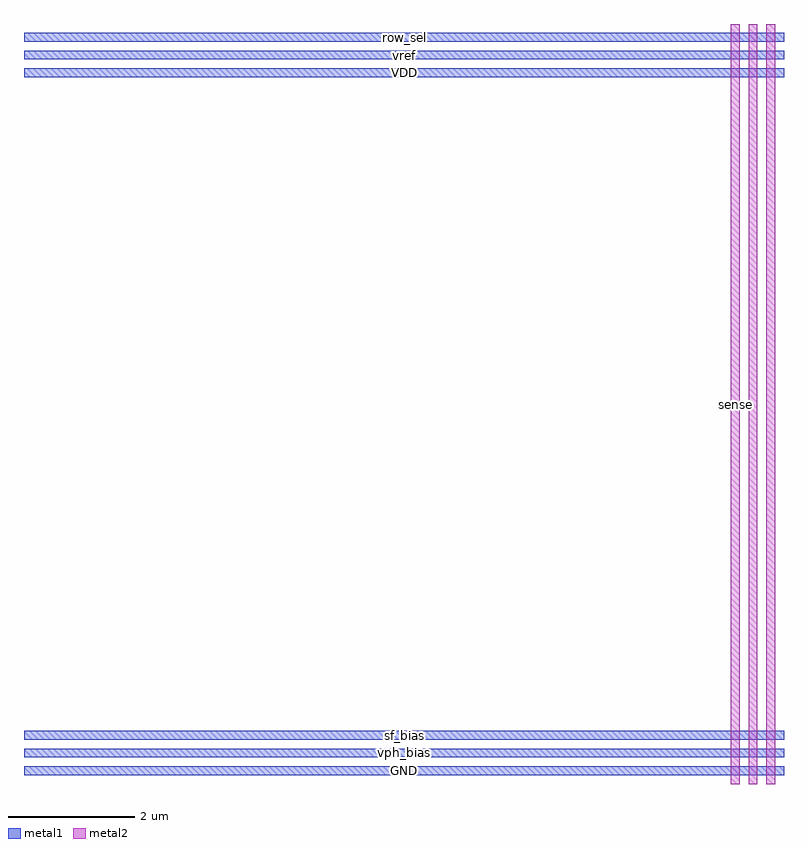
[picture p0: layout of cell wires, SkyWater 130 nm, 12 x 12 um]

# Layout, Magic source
magic
tech sky130A
<< metal1 >>
rect 0 14 1200 28
rect 0 42 1200 56
rect 0 70 1200 84
rect 0 1116 1200 1130
rect 0 1144 1200 1158
rect 0 1172 1200 1186
<< metal2 >>
rect 1116 0 1130 1200
rect 1144 0 1158 1200
rect 1172 0 1186 1200
<< labels >>
flabel metal1 0 14 1200 28 0 FreeSans 100 0 0 0 GND
port 0 ew
flabel metal1 0 1116 1200 1130 0 FreeSans 100 0 0 0 VDD
port 1 ew
flabel metal1 0 42 1200 56 0 FreeSans 100 0 0 0 vph_bias
port 2 ew
flabel metal1 0 70 1200 84 0 FreeSans 100 0 0 0 sf_bias
port 3 ew
flabel metal1 0 1144 1200 1158 0 FreeSans 100 0 0 0 vref
port 4 ew
flabel metal1 0 1172 1200 1186 0 FreeSans 100 0 0 0 row_sel
port 5 ew
flabel metal2 1116 0 1130 1200 0 FreeSans 100 90 0 0 sense
port 6 ns
flabel metal2 1144 0 1158 1200 0 FreeSans 100 90 0 0 feedback
port 7 ns
flabel metal2 1172 0 1186 1200 0 FreeSans 100 90 0 0 pix_rst
port 8 ns
<< end >>
